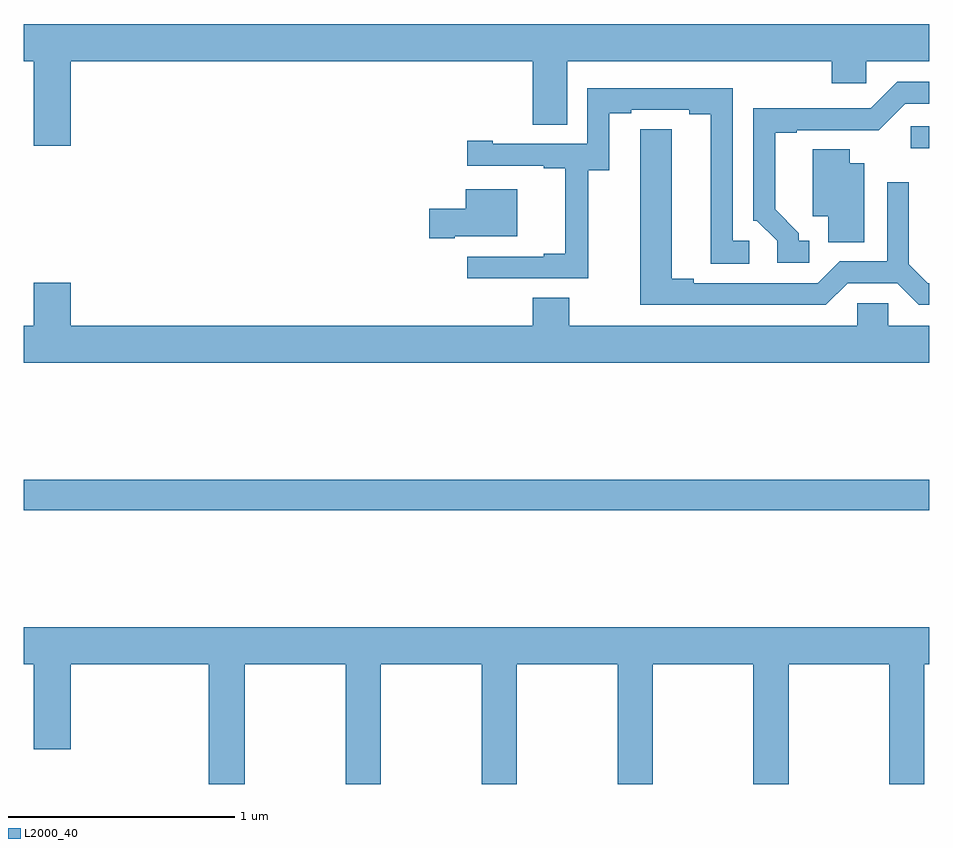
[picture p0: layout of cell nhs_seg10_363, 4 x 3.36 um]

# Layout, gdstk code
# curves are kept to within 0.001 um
import gdstk
lib = gdstk.Library(unit=1e-6, precision=1e-09)
def R(c, l, rs):  # rectangles x0, y0, x1, y1
    for r in rs: c.add(gdstk.rectangle(r[:2], r[2:], *l))
def P(c, l, *ps):  # polygons
    for p in ps: c.add(gdstk.Polygon(p, *l))
L2000_40 = (2000, 40)

nhs_seg10_363 = lib.new_cell('nhs_seg10_363')
R(nhs_seg10_363, L2000_40, [(129,1255.708,133,1255.844), (132.918,1257.308,133,1257.405)])
P(nhs_seg10_363, L2000_40, [(129.208,1257.692),(131.249,1257.692),(131.249,1257.412),(131.401,1257.412),(131.401,1257.692),(132.569,1257.692),(132.569,1257.594),(132.72,1257.594),(132.72,1257.692),(133,1257.692),(133,1257.856),(129,1257.856),(129,1257.692),(129.044,1257.692),(129.044,1257.318),(129.208,1257.318)],
  [(132.469,1256.898),(132.424,1256.898),(132.424,1256.933),(132.319,1257.038),(132.319,1257.375),(132.415,1257.375),(132.415,1257.387),(132.776,1257.386),(132.894,1257.504),(133,1257.504),(133,1257.6),(132.858,1257.6),(132.741,1257.483),(132.485,1257.483),(132.485,1257.485),(132.222,1257.485),(132.222,1256.988),(132.237,1256.988),(132.327,1256.898),(132.327,1256.802),(132.469,1256.802)],
  [(131.493,1257.211),(131.587,1257.211),(131.587,1257.462),(131.683,1257.462),(131.683,1257.477),(131.939,1257.477),(131.939,1257.457),(132.035,1257.457),(132.035,1256.797),(132.205,1256.797),(132.205,1256.898),(132.132,1256.898),(132.132,1257.573),(131.49,1257.573),(131.49,1257.327),(131.071,1257.327),(131.071,1257.34),(130.959,1257.34),(130.959,1257.231),(131.297,1257.231),(131.297,1257.219),(131.393,1257.219),(131.393,1256.842),(131.297,1256.842),(131.297,1256.829),(130.959,1256.829),(130.959,1256.733),(131.493,1256.733)],
  [(132.639,1256.712),(132.857,1256.712),(132.953,1256.616),(133,1256.616),(133,1256.712),(132.993,1256.712),(132.909,1256.796),(132.909,1257.157),(132.813,1257.157),(132.813,1256.808),(132.603,1256.808),(132.507,1256.712),(131.959,1256.712),(131.959,1256.732),(131.863,1256.732),(131.863,1257.392),(131.724,1257.392),(131.723,1256.616),(132.543,1256.616)],
  [(132.712,1257.241),(132.649,1257.241),(132.649,1257.302),(132.485,1257.302),(132.485,1257.008),(132.554,1257.008),(132.554,1256.893),(132.712,1256.893)],
  [(130.903,1256.918),(131.179,1256.918),(131.179,1257.127),(130.952,1257.127),(130.952,1257.04),(130.791,1257.04),(130.791,1256.911),(130.903,1256.911)],
  [(133,1256.524),(132.819,1256.524),(132.819,1256.622),(132.681,1256.622),(132.681,1256.524),(131.409,1256.524),(131.409,1256.648),(131.249,1256.648),(131.249,1256.524),(129.208,1256.524),(129.208,1256.713),(129.044,1256.713),(129.044,1256.524),(129,1256.524),(129,1256.36),(133,1256.36)],
  [(129.977,1255.028),(130.423,1255.028),(130.423,1254.5),(130.578,1254.5),(130.578,1255.028),(131.023,1255.028),(131.023,1254.5),(131.178,1254.5),(131.178,1255.028),(131.623,1255.028),(131.623,1254.5),(131.778,1254.5),(131.778,1255.028),(132.223,1255.028),(132.223,1254.5),(132.378,1254.5),(132.378,1255.028),(132.823,1255.028),(132.823,1254.5),(132.978,1254.5),(132.978,1255.028),(133,1255.028),(133,1255.192),(129,1255.192),(129,1255.028),(129.044,1255.028),(129.044,1254.654),(129.208,1254.654),(129.208,1255.028),(129.818,1255.028),(129.818,1254.5),(129.977,1254.5)])

lib.write_gds('nhs_seg10_363.gds')
